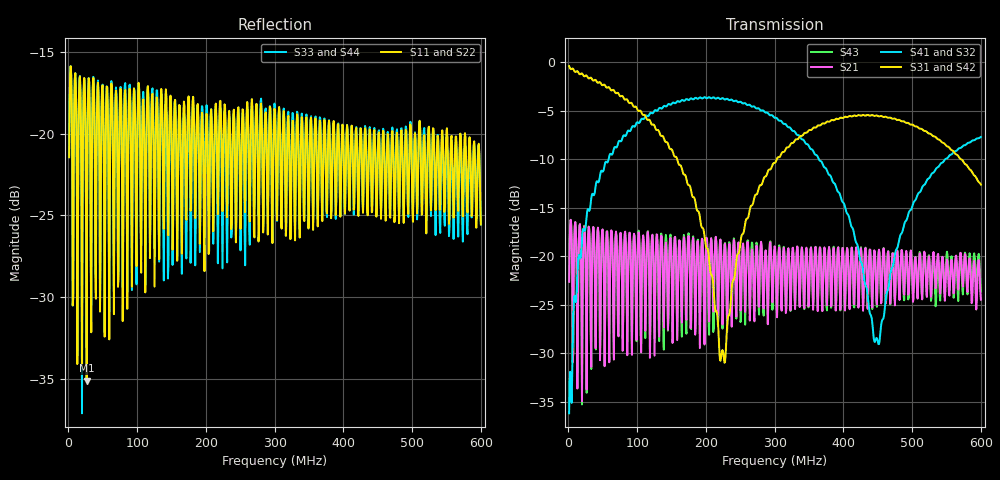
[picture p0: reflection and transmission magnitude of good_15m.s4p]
! synthetic reference sample good_15m
! measured through fixture_launch at both ends
! synthetic measurement, noise -85.0 dB
# Hz S RI R 50
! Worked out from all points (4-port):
!   801 points, 1 MHz to 600 MHz, reference 50 ohm
!   strongest paths, dB at 1 MHz, 150.8 MHz, 300.5 MHz, 450.2 MHz, 600 MHz:
!     S31: -0.4, -9.0, -10.4, -5.5, -12.6
!     S42: -0.4, -9.0, -10.4, -5.5, -12.6
!     S41: -36.2, -4.2, -5.7, -28.8, -7.7
!     S32: -36.1, -4.2, -5.7, -28.9, -7.7
!     S21: -22.6, -24.5, -19.1, -21.0, -24.5
!     S43: -22.6, -23.6, -19.4, -21.1, -23.6
!   lowest |S11| = -35.1 dB at 26.46 MHz (marker M1), VSWR 1.04, Z = 51.7 + j0.457 ohm
!   |S11| at or under -10 dB: start of sweep to end of sweep
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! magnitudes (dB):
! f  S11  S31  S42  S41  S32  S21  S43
! 1 MHz  -21.4  -0.4  -0.4  -36.2  -36.1  -22.6  -22.6
! 26.46 MHz  -35.1  -1.4  -1.4  -15.9  -15.9  -33.7  -34.1
! 162 MHz  -18.3  -10.6  -10.6  -4.1  -4.1  -18.4  -18.5
! 224.1 MHz  -24.7  -29.6  -29.7  -3.7  -3.7  -27.0  -27.4
! 289.3 MHz  -24.3  -11.4  -11.4  -5.2  -5.2  -24.7  -24.2
! 448.8 MHz  -24.5  -5.5  -5.5  -28.4  -28.4  -25.0  -25.2
! 600 MHz  -25.6  -12.6  -12.6  -7.7  -7.7  -24.5  -23.6
